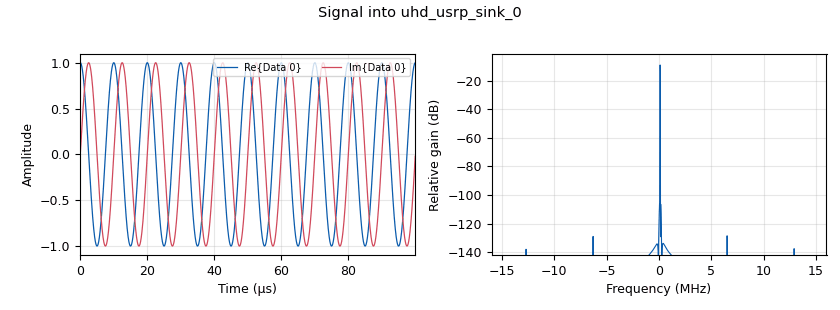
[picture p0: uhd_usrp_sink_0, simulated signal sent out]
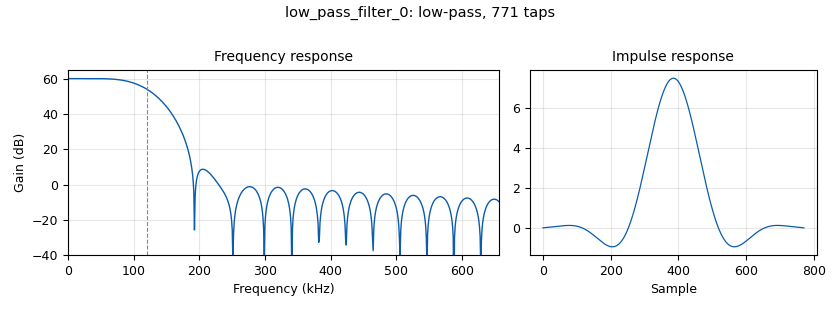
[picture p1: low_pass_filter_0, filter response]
<?xml version='1.0' encoding='utf-8'?>
<?grc format='1' created='3.7.11'?>
<flow_graph>
<block>
<key>options</key>
<param><key>id</key><value>top_block</value></param>
<param><key>generate_options</key><value>qt_gui</value></param>
</block>
<block>
<key>variable</key>
<param><key>id</key><value>center_freq</value></param>
<param><key>value</key><value>0</value></param>
</block>
<block>
<key>variable</key>
<param><key>id</key><value>low_pass_gain</value></param>
<param><key>value</key><value>1e3</value></param>
</block>
<block>
<key>variable</key>
<param><key>id</key><value>samp_rate</value></param>
<param><key>value</key><value>32e6</value></param>
</block>
<block>
<key>variable</key>
<param><key>id</key><value>signal_freq</value></param>
<param><key>value</key><value>1e5</value></param>
</block>
<block>
<key>variable</key>
<param><key>id</key><value>usrp_0</value></param>
<param><key>value</key><value>"serial=318F197"</value></param>
</block>
<block>
<key>variable</key>
<param><key>id</key><value>usrp_1</value></param>
<param><key>value</key><value>"serial=3186907"</value></param>
</block>
<block>
<key>analog_sig_source_x</key>
<param><key>id</key><value>analog_sig_source_x_0</value></param>
<param><key>amp</key><value>1</value></param>
<param><key>freq</key><value>signal_freq</value></param>
<param><key>offset</key><value>0</value></param>
<param><key>type</key><value>complex</value></param>
<param><key>samp_rate</key><value>samp_rate</value></param>
<param><key>waveform</key><value>analog.GR_SIN_WAVE</value></param>
</block>
<block>
<key>blocks_complex_to_real</key>
<param><key>id</key><value>blocks_complex_to_real_0</value></param>
</block>
<block>
<key>blocks_complex_to_real</key>
<param><key>id</key><value>blocks_complex_to_real_0_0</value></param>
</block>
<block>
<key>blocks_float_to_complex</key>
<param><key>id</key><value>blocks_float_to_complex_0</value></param>
</block>
<block>
<key>blocks_throttle</key>
<param><key>id</key><value>blocks_throttle_0</value></param>
<param><key>samples_per_second</key><value>samp_rate</value></param>
<param><key>type</key><value>complex</value></param>
</block>
<block>
<key>diffApp_dTime</key>
<param><key>id</key><value>diffApp_dTime_0</value></param>
</block>
<block>
<key>low_pass_filter</key>
<param><key>id</key><value>low_pass_filter_0</value></param>
<param><key>cutoff_freq</key><value>1.2*signal_freq</value></param>
<param><key>decim</key><value>1</value></param>
<param><key>type</key><value>fir_filter_ccf</value></param>
<param><key>gain</key><value>low_pass_gain</value></param>
<param><key>samp_rate</key><value>samp_rate</value></param>
<param><key>width</key><value>1e5</value></param>
<param><key>win</key><value>firdes.WIN_HAMMING</value></param>
</block>
<block>
<key>low_pass_filter</key>
<param><key>id</key><value>low_pass_filter_0_0</value></param>
<param><key>cutoff_freq</key><value>1.2*signal_freq</value></param>
<param><key>decim</key><value>1</value></param>
<param><key>type</key><value>fir_filter_ccf</value></param>
<param><key>gain</key><value>low_pass_gain</value></param>
<param><key>samp_rate</key><value>samp_rate</value></param>
<param><key>width</key><value>1e5</value></param>
<param><key>win</key><value>firdes.WIN_HAMMING</value></param>
</block>
<block>
<key>qtgui_freq_sink_x</key>
<param><key>id</key><value>qtgui_freq_sink_x_0</value></param>
<param><key>bw</key><value>samp_rate</value></param>
<param><key>fc</key><value>0</value></param>
<param><key>fftsize</key><value>1024</value></param>
<param><key>name</key><value>"RX FREQ"</value></param>
<param><key>showports</key><value>True</value></param>
<param><key>type</key><value>complex</value></param>
<param><key>wintype</key><value>firdes.WIN_BLACKMAN_hARRIS</value></param>
</block>
<block>
<key>qtgui_number_sink</key>
<param><key>id</key><value>qtgui_number_sink_0</value></param>
<param><key>autoscale</key><value>True</value></param>
<param><key>graph_type</key><value>qtgui.NUM_GRAPH_HORIZ</value></param>
<param><key>type</key><value>float</value></param>
<param><key>name</key><value>"timediff"</value></param>
</block>
<block>
<key>qtgui_number_sink</key>
<param><key>id</key><value>qtgui_number_sink_1</value></param>
<param><key>autoscale</key><value>True</value></param>
<param><key>graph_type</key><value>qtgui.NUM_GRAPH_HORIZ</value></param>
<param><key>type</key><value>float</value></param>
<param><key>name</key><value>"flag"</value></param>
</block>
<block>
<key>qtgui_time_sink_x</key>
<param><key>id</key><value>qtgui_time_sink_x_1_0</value></param>
<param><key>autoscale</key><value>True</value></param>
<param><key>color1</key><value>"blue"</value></param>
<param><key>label1</key><value></value></param>
<param><key>color2</key><value>"red"</value></param>
<param><key>label2</key><value></value></param>
<param><key>name</key><value>"RX Time"</value></param>
<param><key>size</key><value>1024</value></param>
<param><key>srate</key><value>samp_rate</value></param>
<param><key>type</key><value>complex</value></param>
</block>
<block>
<key>uhd_usrp_sink</key>
<param><key>id</key><value>uhd_usrp_sink_0</value></param>
<param><key>ant0</key><value>TX/RX</value></param>
<param><key>bw0</key><value>samp_rate/2</value></param>
<param><key>center_freq0</key><value>center_freq</value></param>
<param><key>norm_gain0</key><value>False</value></param>
<param><key>gain0</key><value>0</value></param>
<param><key>clock_rate</key><value>0.0</value></param>
<param><key>dev_args</key><value>usrp_1</value></param>
<param><key>type</key><value>fc32</value></param>
<param><key>samp_rate</key><value>samp_rate</value></param>
<param><key>hide_cmd_port</key><value>False</value></param>
<param><key>hide_lo_controls</key><value>True</value></param>
<param><key>sync</key><value></value></param>
<param><key>len_tag_name</key><value></value></param>
</block>
<block>
<key>uhd_usrp_source</key>
<param><key>id</key><value>uhd_usrp_source_0</value></param>
<param><key>ant0</key><value>RX2</value></param>
<param><key>bw0</key><value>samp_rate/2</value></param>
<param><key>center_freq0</key><value>center_freq</value></param>
<param><key>dc_offs_enb0</key><value>""</value></param>
<param><key>iq_imbal_enb0</key><value>""</value></param>
<param><key>norm_gain0</key><value>False</value></param>
<param><key>gain0</key><value>0</value></param>
<param><key>clock_rate</key><value>0.0</value></param>
<param><key>dev_args</key><value>usrp_0</value></param>
<param><key>type</key><value>fc32</value></param>
<param><key>samp_rate</key><value>samp_rate</value></param>
<param><key>hide_cmd_port</key><value>False</value></param>
<param><key>hide_lo_controls</key><value>True</value></param>
<param><key>sync</key><value></value></param>
</block>
<block>
<key>uhd_usrp_source</key>
<param><key>id</key><value>uhd_usrp_source_0_0</value></param>
<param><key>ant0</key><value>RX2</value></param>
<param><key>bw0</key><value>samp_rate/2</value></param>
<param><key>center_freq0</key><value>center_freq</value></param>
<param><key>dc_offs_enb0</key><value>""</value></param>
<param><key>iq_imbal_enb0</key><value>""</value></param>
<param><key>norm_gain0</key><value>False</value></param>
<param><key>gain0</key><value>0</value></param>
<param><key>clock_rate</key><value>0.0</value></param>
<param><key>dev_args</key><value>usrp_1</value></param>
<param><key>type</key><value>fc32</value></param>
<param><key>samp_rate</key><value>samp_rate</value></param>
<param><key>hide_cmd_port</key><value>False</value></param>
<param><key>hide_lo_controls</key><value>True</value></param>
<param><key>sync</key><value></value></param>
</block>
<connection><source_block_id>analog_sig_source_x_0</source_block_id><sink_block_id>blocks_throttle_0</sink_block_id><source_key>0</source_key><sink_key>0</sink_key></connection>
<connection><source_block_id>blocks_complex_to_real_0</source_block_id><sink_block_id>blocks_float_to_complex_0</sink_block_id><source_key>0</source_key><sink_key>0</sink_key></connection>
<connection><source_block_id>blocks_complex_to_real_0</source_block_id><sink_block_id>diffApp_dTime_0</sink_block_id><source_key>0</source_key><sink_key>0</sink_key></connection>
<connection><source_block_id>blocks_complex_to_real_0_0</source_block_id><sink_block_id>blocks_float_to_complex_0</sink_block_id><source_key>0</source_key><sink_key>1</sink_key></connection>
<connection><source_block_id>blocks_complex_to_real_0_0</source_block_id><sink_block_id>diffApp_dTime_0</sink_block_id><source_key>0</source_key><sink_key>1</sink_key></connection>
<connection><source_block_id>blocks_float_to_complex_0</source_block_id><sink_block_id>qtgui_time_sink_x_1_0</sink_block_id><source_key>0</source_key><sink_key>0</sink_key></connection>
<connection><source_block_id>blocks_throttle_0</source_block_id><sink_block_id>uhd_usrp_sink_0</sink_block_id><source_key>0</source_key><sink_key>0</sink_key></connection>
<connection><source_block_id>diffApp_dTime_0</source_block_id><sink_block_id>qtgui_number_sink_1</sink_block_id><source_key>1</source_key><sink_key>0</sink_key></connection>
<connection><source_block_id>diffApp_dTime_0</source_block_id><sink_block_id>qtgui_number_sink_0</sink_block_id><source_key>0</source_key><sink_key>0</sink_key></connection>
<connection><source_block_id>low_pass_filter_0</source_block_id><sink_block_id>blocks_complex_to_real_0</sink_block_id><source_key>0</source_key><sink_key>0</sink_key></connection>
<connection><source_block_id>low_pass_filter_0</source_block_id><sink_block_id>qtgui_freq_sink_x_0</sink_block_id><source_key>0</source_key><sink_key>0</sink_key></connection>
<connection><source_block_id>low_pass_filter_0_0</source_block_id><sink_block_id>blocks_complex_to_real_0_0</sink_block_id><source_key>0</source_key><sink_key>0</sink_key></connection>
<connection><source_block_id>uhd_usrp_source_0</source_block_id><sink_block_id>low_pass_filter_0</sink_block_id><source_key>0</source_key><sink_key>0</sink_key></connection>
<connection><source_block_id>uhd_usrp_source_0_0</source_block_id><sink_block_id>low_pass_filter_0_0</sink_block_id><source_key>0</source_key><sink_key>0</sink_key></connection>
</flow_graph>
